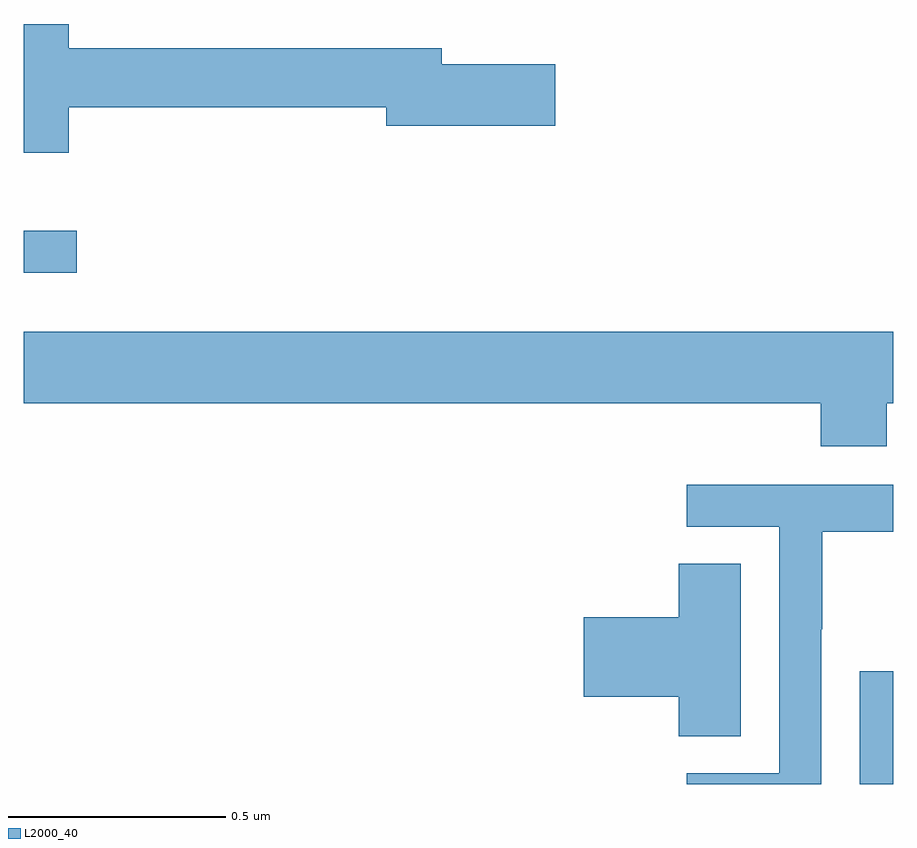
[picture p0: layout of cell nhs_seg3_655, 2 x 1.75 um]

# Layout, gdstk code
import gdstk
lib = gdstk.Library(unit=1e-6, precision=1e-09)
def R(c, l, rs):  # rectangles x0, y0, x1, y1
    for r in rs: c.add(gdstk.rectangle(r[:2], r[2:], *l))
def P(c, l, *ps):  # polygons
    for p in ps: c.add(gdstk.Polygon(p, *l))
L2000_40 = (2000, 40)

nhs_seg3_655 = lib.new_cell('nhs_seg3_655')
R(nhs_seg3_655, L2000_40, [(120.923,673.4,121,673.659), (119,674.576,119.122,674.673)])
P(nhs_seg3_655, L2000_40, [(119.104,674.956),(119.834,674.956),(119.834,674.914),(120.223,674.914),(120.223,675.056),(119.962,675.056),(119.962,675.092),(119.104,675.092),(119.104,675.148),(119,675.148),(119,674.852),(119.104,674.852)],
  [(120.985,674.276),(121,674.276),(121,674.44),(119,674.44),(119,674.276),(120.833,674.276),(120.833,674.177),(120.985,674.177)],
  [(120.834,673.756),(120.837,673.756),(120.837,673.98),(121,673.98),(121,674.088),(120.525,674.088),(120.525,673.992),(120.738,673.992),(120.738,673.425),(120.525,673.425),(120.525,673.4),(120.834,673.4)],
  [(120.649,673.907),(120.506,673.907),(120.506,673.784),(120.288,673.784),(120.288,673.601),(120.506,673.601),(120.506,673.51),(120.649,673.51)])

lib.write_gds('nhs_seg3_655.gds')
